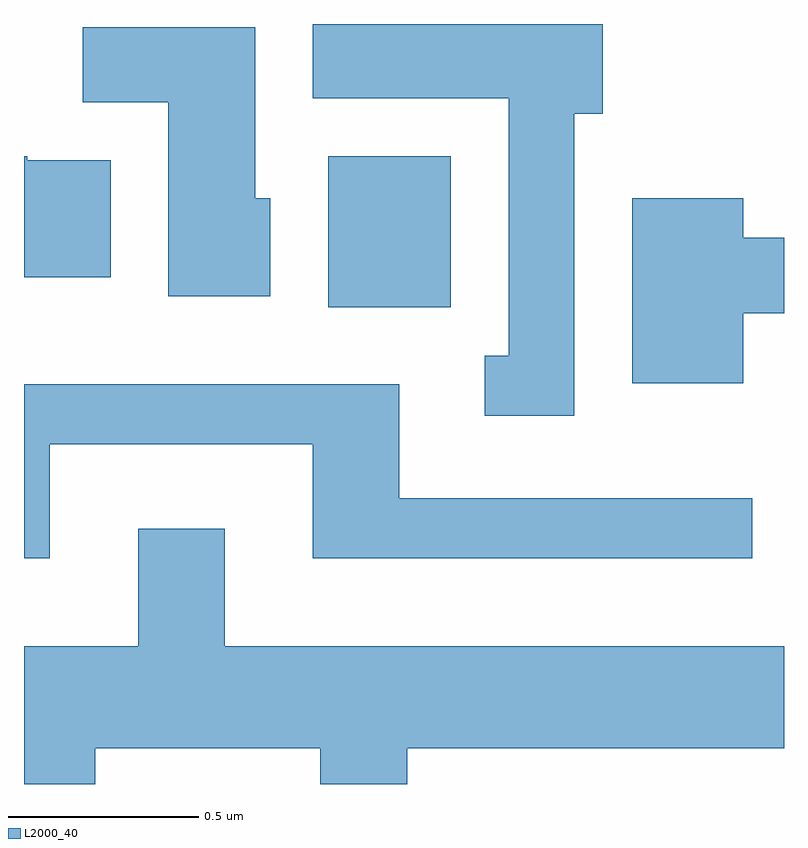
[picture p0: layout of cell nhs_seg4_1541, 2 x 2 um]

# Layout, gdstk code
import gdstk
lib = gdstk.Library(unit=1e-6, precision=1e-09)
def R(c, l, rs):  # rectangles x0, y0, x1, y1
    for r in rs: c.add(gdstk.rectangle(r[:2], r[2:], *l))
def P(c, l, *ps):  # polygons
    for p in ps: c.add(gdstk.Polygon(p, *l))
L2000_40 = (2000, 40)

nhs_seg4_1541 = lib.new_cell('nhs_seg4_1541')
R(nhs_seg4_1541, L2000_40, [(197.411,1289.236,197.734,1289.634)])
P(nhs_seg4_1541, L2000_40, [(198.059,1289.746),(198.134,1289.746),(198.134,1289.982),(197.371,1289.982),(197.371,1289.786),(197.886,1289.786),(197.886,1289.109),(197.823,1289.109),(197.823,1288.951),(198.059,1288.951)],
  [(197.259,1289.524),(197.219,1289.524),(197.219,1289.974),(196.766,1289.974),(196.766,1289.776),(196.991,1289.776),(196.991,1289.266),(197.259,1289.266)],
  [(196.839,1289.624),(196.62,1289.624),(196.62,1289.634),(196.611,1289.634),(196.611,1289.316),(196.839,1289.316)],
  [(198.504,1289.221),(198.611,1289.221),(198.611,1289.419),(198.504,1289.419),(198.504,1289.524),(198.211,1289.524),(198.211,1289.036),(198.504,1289.036)],
  [(196.679,1288.876),(197.371,1288.876),(197.371,1288.576),(198.528,1288.576),(198.528,1288.734),(197.599,1288.734),(197.599,1289.034),(196.611,1289.034),(196.611,1288.576),(196.679,1288.576)],
  [(196.799,1288.076),(197.391,1288.076),(197.391,1287.982),(197.619,1287.982),(197.619,1288.076),(198.611,1288.076),(198.611,1288.344),(197.139,1288.344),(197.139,1288.654),(196.911,1288.654),(196.911,1288.344),(196.611,1288.344),(196.611,1287.982),(196.799,1287.982)])

lib.write_gds('nhs_seg4_1541.gds')
